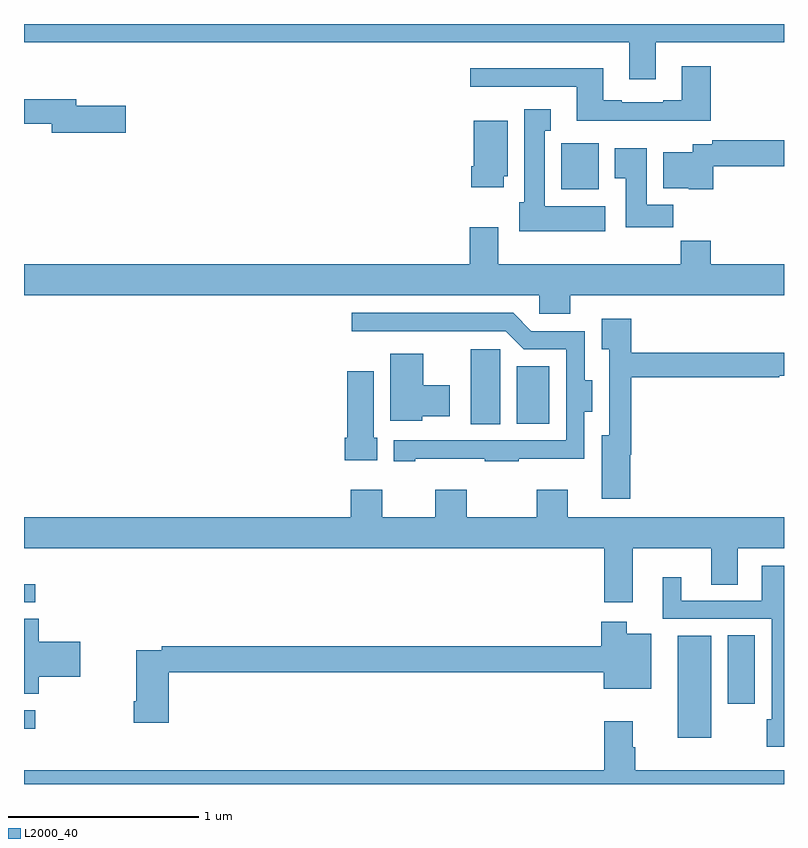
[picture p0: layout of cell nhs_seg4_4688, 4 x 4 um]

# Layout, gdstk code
import gdstk
lib = gdstk.Library(unit=1e-6, precision=1e-09)
def R(c, l, rs):  # rectangles x0, y0, x1, y1
    for r in rs: c.add(gdstk.rectangle(r[:2], r[2:], *l))
def P(c, l, *ps):  # polygons
    for p in ps: c.add(gdstk.Polygon(p, *l))
L2000_40 = (2000, 40)

nhs_seg4_4688 = lib.new_cell('nhs_seg4_4688')
R(nhs_seg4_4688, L2000_40, [(366.44,809.144,366.616,809.68), (363,809.191,363.058,809.289), (366.704,809.322,366.847,809.684), (363,809.856,363.058,809.952), (365.351,810.793,365.506,811.188), (365.594,810.797,365.764,811.099), (365.828,812.03,366.025,812.272)])
P(nhs_seg4_4688, L2000_40, [(366.325,812.804),(367,812.804),(367,812.9),(363,812.9),(363,812.804),(366.185,812.804),(366.185,812.61),(366.325,812.61)],
  [(366.614,812.677),(366.461,812.677),(366.461,812.5),(366.365,812.5),(366.365,812.487),(366.145,812.487),(366.145,812.5),(366.049,812.5),(366.049,812.668),(365.349,812.668),(365.349,812.571),(365.909,812.571),(365.909,812.39),(366.614,812.39)],
  [(363.535,812.469),(363.274,812.469),(363.274,812.503),(363,812.503),(363,812.374),(363.146,812.374),(363.146,812.327),(363.535,812.327)],
  [(366.058,811.942),(365.74,811.942),(365.74,812.339),(365.773,812.339),(365.773,812.452),(365.633,812.452),(365.633,811.962),(365.606,811.962),(365.606,811.808),(366.058,811.808)],
  [(365.524,812.1),(365.545,812.1),(365.545,812.392),(365.366,812.392),(365.366,812.152),(365.354,812.152),(365.354,812.04),(365.524,812.04)],
  [(366.628,812.152),(367,812.152),(367,812.288),(366.622,812.288),(366.622,812.268),(366.519,812.268),(366.519,812.224),(366.365,812.224),(366.365,812.036),(366.498,812.036),(366.498,812.03),(366.628,812.03)],
  [(366.416,811.948),(366.277,811.948),(366.277,812.245),(366.11,812.245),(366.11,812.089),(366.167,812.089),(366.167,811.83),(366.416,811.83)],
  [(365.876,811.472),(367,811.472),(367,811.636),(366.614,811.636),(366.614,811.76),(366.457,811.76),(366.457,811.636),(365.497,811.636),(365.497,811.831),(365.345,811.831),(365.345,811.636),(363,811.636),(363,811.472),(365.712,811.472),(365.712,811.374),(365.876,811.374)],
  [(365.059,810.611),(365.425,810.611),(365.425,810.6),(365.603,810.6),(365.603,810.611),(365.949,810.611),(365.949,810.86),(365.992,810.86),(365.992,811.024),(365.95,811.024),(365.95,811.284),(365.67,811.284),(365.574,811.38),(364.725,811.38),(364.725,811.284),(365.535,811.284),(365.631,811.188),(365.853,811.188),(365.853,810.708),(364.947,810.708),(364.947,810.6),(365.059,810.6)],
  [(366.191,810.632),(366.197,810.632),(366.197,811.042),(366.974,811.042),(366.974,811.05),(367,811.05),(367,811.171),(366.197,811.171),(366.197,811.348),(366.041,811.348),(366.041,811.187),(366.081,811.187),(366.081,810.736),(366.041,810.736),(366.041,810.402),(366.191,810.402)],
  [(365.097,810.836),(365.242,810.836),(365.242,811),(365.101,811),(365.101,811.165),(364.928,811.165),(364.928,810.812),(365.097,810.812)],
  [(364.858,810.723),(364.84,810.723),(364.84,811.072),(364.7,811.072),(364.7,810.723),(364.688,810.723),(364.688,810.605),(364.858,810.605)],
  [(366.205,810.14),(366.617,810.14),(366.617,809.95),(366.757,809.95),(366.757,810.14),(367,810.14),(367,810.304),(365.863,810.304),(365.863,810.448),(365.699,810.448),(365.699,810.304),(365.329,810.304),(365.329,810.448),(365.165,810.448),(365.165,810.304),(364.885,810.304),(364.885,810.448),(364.721,810.448),(364.721,810.304),(363,810.304),(363,810.14),(366.053,810.14),(366.053,809.856),(366.205,809.856)],
  [(367,810.049),(366.884,810.049),(366.884,809.865),(366.46,809.865),(366.46,809.989),(366.362,809.989),(366.362,809.769),(366.936,809.769),(366.936,809.241),(366.91,809.241),(366.91,809.097),(367,809.097)],
  [(363.077,809.465),(363.295,809.465),(363.295,809.648),(363.077,809.648),(363.077,809.771),(363,809.771),(363,809.374),(363.077,809.374)],
  [(363.761,809.488),(366.05,809.488),(366.05,809.402),(366.301,809.402),(366.301,809.692),(366.172,809.692),(366.172,809.755),(366.038,809.755),(366.038,809.624),(363.724,809.624),(363.724,809.604),(363.59,809.604),(363.59,809.335),(363.578,809.335),(363.578,809.223),(363.761,809.223)],
  [(367,808.972),(366.218,808.972),(366.218,809.093),(366.205,809.093),(366.205,809.23),(366.053,809.23),(366.053,808.972),(363,808.972),(363,808.9),(367,808.9)])

lib.write_gds('nhs_seg4_4688.gds')
